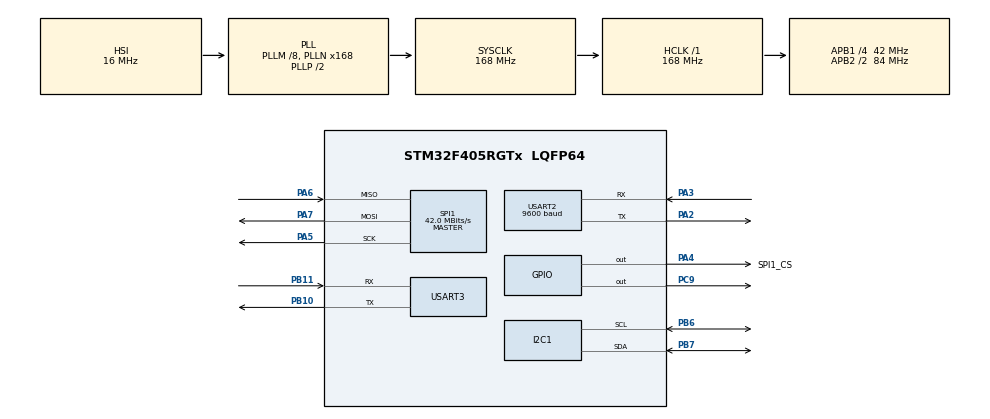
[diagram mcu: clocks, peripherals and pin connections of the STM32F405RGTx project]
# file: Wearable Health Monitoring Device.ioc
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I2C1.I2C_Mode=I2C_Standard
Mcu.Family=STM32F4
Mcu.Name=STM32F405RGTx
Mcu.Package=LQFP64
NVIC.PriorityGroup=NVIC_PRIORITYGROUP_4
NVIC.TIM1_UP_TIM10_IRQn=true\:15\:0\:false\:false\:true\:false\:true\:true
NVIC.TimeBase=TIM1_UP_TIM10_IRQn
NVIC.TimeBaseIP=TIM1
NVIC.USART3_IRQn=true\:0\:0\:false\:false\:true\:true\:true\:true
PA13.Mode=Trace_Asynchronous_SW
PA13.Signal=SYS_JTMS-SWDIO
PA14.Mode=Trace_Asynchronous_SW
PA14.Signal=SYS_JTCK-SWCLK
PA2.Mode=Asynchronous
PA2.Signal=USART2_TX
PA3.Mode=Asynchronous
PA3.Signal=USART2_RX
PA4.GPIO_Label=SPI1_CS
PA4.Signal=GPIO_Output
PA5.Mode=Full_Duplex_Master
PA5.Signal=SPI1_SCK
PA6.Mode=Full_Duplex_Master
PA6.Signal=SPI1_MISO
PA7.Mode=Full_Duplex_Master
PA7.Signal=SPI1_MOSI
PB10.Mode=Asynchronous
PB10.Signal=USART3_TX
PB11.Mode=Asynchronous
PB11.Signal=USART3_RX
PB3.Mode=Trace_Asynchronous_SW
PB3.Signal=SYS_JTDO-SWO
PB6.GPIO_Pu=GPIO_NOPULL
PB6.Mode=I2C
PB6.Signal=I2C1_SCL
PB7.GPIO_Pu=GPIO_NOPULL
PB7.Mode=I2C
PB7.Signal=I2C1_SDA
PC9.Signal=GPIO_Output
PH0-OSC_IN.Mode=HSE-External-Oscillator
PH0-OSC_IN.Signal=RCC_OSC_IN
PH1-OSC_OUT.Mode=HSE-External-Oscillator
PH1-OSC_OUT.Signal=RCC_OSC_OUT
ProjectManager.HeapSize=0x200
ProjectManager.StackSize=0x400
ProjectManager.TargetToolchain=STM32CubeIDE
RCC.48MHZClocksFreq_Value=48000000
RCC.AHBFreq_Value=168000000
RCC.APB1CLKDivider=RCC_HCLK_DIV4
RCC.APB1Freq_Value=42000000
RCC.APB1TimFreq_Value=84000000
RCC.APB2CLKDivider=RCC_HCLK_DIV2
RCC.APB2Freq_Value=84000000
RCC.APB2TimFreq_Value=168000000
RCC.CortexFreq_Value=168000000
RCC.EnbaleCSS=true
RCC.HCLKFreq_Value=168000000
RCC.HSE_VALUE=25000000
RCC.HSI_VALUE=16000000
RCC.LSE_VALUE=32768
RCC.PLLM=25
RCC.PLLN=336
RCC.PLLQ=7
RCC.PLLSourceVirtual=RCC_PLLSOURCE_HSE
RCC.SYSCLKFreq_VALUE=168000000
RCC.SYSCLKSource=RCC_SYSCLKSOURCE_PLLCLK
RCC.VCOOutputFreq_Value=336000000
SPI1.CalculateBaudRate=42.0 MBits/s
SPI1.Direction=SPI_DIRECTION_2LINES
SPI1.Mode=SPI_MODE_MASTER
SPI1.VirtualType=VM_MASTER
USART2.BaudRate=9600
USART2.VirtualMode=VM_ASYNC
USART3.VirtualMode=VM_ASYNC
VP_SYS_VS_tim1.Mode=TIM1
board=custom

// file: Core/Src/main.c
/* USER CODE BEGIN Header */
/**
  ******************************************************************************
  * @file           : main.c
  * @brief          : Main program body
  ******************************************************************************
  * @attention
  *
  * Copyright (c) 2025 STMicroelectronics.
  * All rights reserved.
  *
  * This software is licensed under terms that can be found in the LICENSE file
  * in the root directory of this software component.
  * If no LICENSE file comes with this software, it is provided AS-IS.
  *
  ******************************************************************************
  */
/* USER CODE END Header */
#include "main.h"
#include "i2c.h"
#include "spi.h"
#include "usart.h"
#include "gpio.h"

/* USER CODE BEGIN Includes */
#include "m95640_driver.h"
#include "max30102.h"
#include "FreeRTOS.h"
#include "task.h"
#include <stdio.h>
#include <string.h>
#include <stdbool.h>
#include <stdlib.h>
#include <time.h>
#include "hc05.h"
/* USER CODE END Includes */

/* USER CODE BEGIN PTD */
// State machine for our ThingSpeak client application
typedef enum {
    STATE_CLIENT_INIT,
    STATE_CLIENT_CONNECT_WIFI,
    STATE_CLIENT_START_CONNECTION,
    STATE_CLIENT_SEND_DATA,
    STATE_CLIENT_CLOSE_CONNECTION,
    STATE_CLIENT_WAIT,
    STATE_CLIENT_ERROR
} AppState;
/* USER CODE END PTD */

/* USER CODE BEGIN PD */
#define EEPROM_ADDRESS  0x0000

// --- WiFi Credentials ---
#define WIFI_SSID       "network7"
#define WIFI_PASSWORD   "1029384757"

// --- ThingSpeak Configuration ---
#define THINGSPEAK_API_KEY "VM24KC8S1EDVA8AV" // IMPORTANT: REPLACE WITH YOUR KEY
#define THINGSPEAK_HOST "api.thingspeak.com"
#define THINGSPEAK_PORT 80
#define UPDATE_INTERVAL_MS 20000 // ThingSpeak free plan allows updates every 15s. 20s is safer.

// --- ESP32 Communication Buffer ---
#define RX_BUFFER_SIZE 1024
/* USER CODE END PD */

/* USER CODE BEGIN PV */
bool isTrue = false;
char g_read_string[5];
uint16_t ir_data[16], red_data[16];

// --- ESP32 AT Command Client Variables ---
uint8_t uart_rx_buffer[1]; // Single byte buffer for UART IT
uint8_t app_rx_buffer[RX_BUFFER_SIZE];  // Application buffer for processing responses
volatile uint16_t app_rx_write_pos = 0;
volatile AppState app_state = STATE_CLIENT_INIT;

// MAX30100 Register addresses and functions (as provided by you)
#define MAX30100_I2C_ADDRESS (0x57 << 1)
#define REG_INT_STATUS      0x00
#define REG_INT_ENABLE      0x01
#define REG_FIFO_WR_PTR     0x02
#define REG_OVF_COUNTER     0x03
#define REG_FIFO_RD_PTR     0x04
#define REG_FIFO_DATA       0x05
#define REG_MODE_CONFIG     0x06
#define REG_SPO2_CONFIG     0x07
#define REG_LED_CONFIG      0x09

HAL_StatusTypeDef MAX30100_WriteReg(uint8_t reg, uint8_t value) {
    uint8_t data[2] = {reg, value};
    return HAL_I2C_Master_Transmit(&hi2c1, MAX30100_I2C_ADDRESS, data, 2, HAL_MAX_DELAY);
}

HAL_StatusTypeDef MAX30100_ReadReg(uint8_t reg, uint8_t *data, uint16_t len) {
    return HAL_I2C_Mem_Read(&hi2c1, MAX30100_I2C_ADDRESS, reg, 1, data, len, HAL_MAX_DELAY);
}

void MAX30100_Init(void) {
    MAX30100_WriteReg(REG_MODE_CONFIG, 0x40);
    HAL_Delay(100);
    MAX30100_WriteReg(REG_FIFO_WR_PTR, 0x00);
    MAX30100_WriteReg(REG_OVF_COUNTER, 0x00);
    MAX30100_WriteReg(REG_FIFO_RD_PTR, 0x00);
    MAX30100_WriteReg(REG_INT_ENABLE, 0x10);
    MAX30100_WriteReg(REG_MODE_CONFIG, 0x03);
    MAX30100_WriteReg(REG_SPO2_CONFIG, 0x41);
    MAX30100_WriteReg(REG_LED_CONFIG, 0x33);
}

void MAX30100_ReadFIFO(uint16_t *ir, uint16_t *red, uint8_t num_samples) {
    uint8_t fifo_data[4 * num_samples];
    uint8_t wr_ptr, rd_ptr;
    MAX30100_ReadReg(REG_FIFO_WR_PTR, &wr_ptr, 1);
    MAX30100_ReadReg(REG_FIFO_RD_PTR, &rd_ptr, 1);
    int8_t samples_to_read = wr_ptr - rd_ptr;
    if (samples_to_read < 0) samples_to_read += 32;
    if (samples_to_read > num_samples) samples_to_read = num_samples;
    if (samples_to_read > 0) {
        MAX30100_ReadReg(REG_FIFO_DATA, fifo_data, 4 * samples_to_read);
        for (uint8_t i = 0; i < samples_to_read; i++) {
            ir[i] = (fifo_data[i * 4] << 8) | fifo_data[i * 4 + 1];
            red[i] = (fifo_data[i * 4 + 2] << 8) | fifo_data[i * 4 + 3];
        }
    }
}

// --- ESP32 Helper Functions ---
void clear_app_buffer(void) {
    memset(app_rx_buffer, 0, RX_BUFFER_SIZE);
    app_rx_write_pos = 0;
}

void esp32_send_command(const char* cmd) {
    clear_app_buffer();
    HAL_UART_Transmit(&huart3, (uint8_t*)cmd, strlen(cmd), HAL_MAX_DELAY);
}

bool esp32_wait_for_response(const char* expected_response, uint32_t timeout_ms) {
    uint32_t start_time = HAL_GetTick();
    while ((HAL_GetTick() - start_time) < timeout_ms) {
        if (strstr((char*)app_rx_buffer, expected_response) != NULL) {
            return true;
        }
        vTaskDelay(pdMS_TO_TICKS(100));
    }
    return false;
}

int getRandom_0_to_50(void) {
    // rand() % 51 will generate a number between 0 and 50.
    return rand() % 51;
}

int getRandom_90_to_110(void) {
    // 1. Calculate the range size: 110 - 90 + 1 = 21
    // 2. Generate a random number from 0 to 20: rand() % 21
    // 3. Add the minimum value (90) to shift the range.
    return (rand() % 21) + 90;
}
/* USER CODE END PV */

void SystemClock_Config(void);
/* USER CODE BEGIN PFP */
void thingSpeakTask(void *param);
/* USER CODE END PFP */

int main(void)
{

  /* MCU Configuration--------------------------------------------------------*/

  /* Reset of all peripherals, Initializes the Flash interface and the Systick. */
  HAL_Init();

  /* Configure the system clock */
  SystemClock_Config();

  /* Initialize all configured peripherals */
  MX_GPIO_Init();
  MX_SPI1_Init();
  MX_I2C1_Init();
  MX_USART2_UART_Init();
  MX_USART3_UART_Init();
  /* USER CODE BEGIN 2 */
  SpiEepromInit_HAL();
  hc05_init(&huart2);
  srand(time(NULL));
//  MAX30100_Init();

  // Start listening for data from ESP32 using interrupts.
  HAL_UART_Receive_IT(&huart3, uart_rx_buffer, 1);

  // Create the FreeRTOS task for sending data to ThingSpeak.
  xTaskCreate(thingSpeakTask, "ThingSpeakTask", 2048, NULL, 1, NULL);

  // Start the FreeRTOS scheduler.
  vTaskStartScheduler();
  /* USER CODE END 2 */

  /* Infinite loop */
  while (1)
  {

  }
}

void SystemClock_Config(void)
{
  RCC_OscInitTypeDef RCC_OscInitStruct = {0};
  RCC_ClkInitTypeDef RCC_ClkInitStruct = {0};

  /** Configure the main internal regulator output voltage
  */
  __HAL_RCC_PWR_CLK_ENABLE();
  __HAL_PWR_VOLTAGESCALING_CONFIG(PWR_REGULATOR_VOLTAGE_SCALE1);

  /** Initializes the RCC Oscillators according to the specified parameters
  * in the RCC_OscInitTypeDef structure.
  */
  RCC_OscInitStruct.OscillatorType = RCC_OSCILLATORTYPE_HSI;
  RCC_OscInitStruct.HSIState = RCC_HSI_ON;
  RCC_OscInitStruct.HSICalibrationValue = RCC_HSICALIBRATION_DEFAULT;
  RCC_OscInitStruct.PLL.PLLState = RCC_PLL_ON;
  RCC_OscInitStruct.PLL.PLLSource = RCC_PLLSOURCE_HSI;
  RCC_OscInitStruct.PLL.PLLM = 8;
  RCC_OscInitStruct.PLL.PLLN = 168;
  RCC_OscInitStruct.PLL.PLLP = RCC_PLLP_DIV2;
  RCC_OscInitStruct.PLL.PLLQ = 4;
  if (HAL_RCC_OscConfig(&RCC_OscInitStruct) != HAL_OK)
  {
    Error_Handler();
  }

  /** Initializes the CPU, AHB and APB buses clocks
  */
  RCC_ClkInitStruct.ClockType = RCC_CLOCKTYPE_HCLK|RCC_CLOCKTYPE_SYSCLK
                              |RCC_CLOCKTYPE_PCLK1|RCC_CLOCKTYPE_PCLK2;
  RCC_ClkInitStruct.SYSCLKSource = RCC_SYSCLKSOURCE_PLLCLK;
  RCC_ClkInitStruct.AHBCLKDivider = RCC_SYSCLK_DIV1;
  RCC_ClkInitStruct.APB1CLKDivider = RCC_HCLK_DIV4;
  RCC_ClkInitStruct.APB2CLKDivider = RCC_HCLK_DIV2;

  if (HAL_RCC_ClockConfig(&RCC_ClkInitStruct, FLASH_LATENCY_5) != HAL_OK)
  {
    Error_Handler();
  }
}

/* USER CODE BEGIN 4 */
// This is the main task for sending data to ThingSpeak
void thingSpeakTask(void *param)
{
    char command_buffer[128];
    char http_request[256];
    char data_payload[128];

    // Initial state setup
    app_state = STATE_CLIENT_INIT;

    while(1)
    {
        switch(app_state)
        {
            case STATE_CLIENT_INIT:
                esp32_send_command("AT+RST\r\n");
                vTaskDelay(pdMS_TO_TICKS(2000));
                esp32_send_command("ATE0\r\n");
                if(esp32_wait_for_response("OK", 2000)) {
                    app_state = STATE_CLIENT_CONNECT_WIFI;
                } else {
                    app_state = STATE_CLIENT_ERROR;
                }
                break;

            case STATE_CLIENT_CONNECT_WIFI:
                esp32_send_command("AT+CWMODE=1\r\n");
                if(!esp32_wait_for_response("OK", 2000)) { app_state = STATE_CLIENT_ERROR; break; }

                sprintf(command_buffer, "AT+CWJAP=\"%s\",\"%s\"\r\n", WIFI_SSID, WIFI_PASSWORD);
                esp32_send_command(command_buffer);
                if(esp32_wait_for_response("WIFI GOT IP", 15000)) {
                    app_state = STATE_CLIENT_WAIT; // Successfully connected, go to wait state
                } else {
                    app_state = STATE_CLIENT_ERROR;
                }
                break;

            case STATE_CLIENT_START_CONNECTION:
                sprintf(command_buffer, "AT+CIPSTART=\"TCP\",\"%s\",%d\r\n", THINGSPEAK_HOST, THINGSPEAK_PORT);
                esp32_send_command(command_buffer);
                if(esp32_wait_for_response("CONNECT", 5000)) {
                    app_state = STATE_CLIENT_SEND_DATA;
                } else {
                    app_state = STATE_CLIENT_ERROR; // Failed to connect to server
                }
                break;

            case STATE_CLIENT_SEND_DATA:
            {
                // Step 1: Get sensor data (using constant values for now)
                // MAX30100_ReadFIFO(ir_data, red_data, 1);
                uint16_t ir_value = getRandom_0_to_50();
                uint16_t red_value = getRandom_90_to_110();

                // Step 2: Format the data payload for the request body
                sprintf(data_payload, "api_key=%s&field1=%u&field2=%u", THINGSPEAK_API_KEY, ir_value, red_value);

                // Step 3: Format the full HTTP POST request
                sprintf(http_request,
                        "POST /update HTTP/1.1\r\n"
                        "Host: %s\r\n"
                        "Content-Type: application/x-www-form-urlencoded\r\n"
                        "Content-Length: %d\r\n"
                        "\r\n"
                        "%s",
                        THINGSPEAK_HOST, strlen(data_payload), data_payload);

                // Step 4: Send the request length to ESP32
                sprintf(command_buffer, "AT+CIPSEND=%d\r\n", strlen(http_request));
                esp32_send_command(command_buffer);

                // Step 5: Wait for ">" and send the actual request
                if(esp32_wait_for_response(">", 2000)) {
                    esp32_send_command(http_request);
                    if(esp32_wait_for_response("SEND OK", 5000)) {
                        app_state = STATE_CLIENT_CLOSE_CONNECTION;
                    } else { app_state = STATE_CLIENT_ERROR; }
                } else { app_state = STATE_CLIENT_ERROR; }
            }
            break;

            case STATE_CLIENT_CLOSE_CONNECTION:
                esp32_send_command("AT+CIPCLOSE\r\n");
                // We don't strictly need to wait for the response. Move to wait state.
                app_state = STATE_CLIENT_WAIT;
                break;

            case STATE_CLIENT_WAIT:
                // Wait for the defined interval before sending the next update
                vTaskDelay(pdMS_TO_TICKS(UPDATE_INTERVAL_MS));
                app_state = STATE_CLIENT_START_CONNECTION; // Time to send data again
                break;

            case STATE_CLIENT_ERROR:
                // An error occurred. Toggle an LED and try to re-initialize after a delay.
//                HAL_GPIO_TogglePin(LD2_GPIO_Port, LD2_Pin);
                vTaskDelay(pdMS_TO_TICKS(500));
//                HAL_GPIO_TogglePin(LD2_GPIO_Port, LD2_Pin);
                vTaskDelay(pdMS_TO_TICKS(5000));
                app_state = STATE_CLIENT_INIT; // Try to recover
                break;
        }
        vTaskDelay(pdMS_TO_TICKS(10));
    }
}

// UART Interrupt Service Routine Callback
void HAL_UART_RxCpltCallback(UART_HandleTypeDef *huart)
{
    if (huart->Instance == USART3)
    {
        if (app_rx_write_pos < sizeof(app_rx_buffer) - 1)
        {
            app_rx_buffer[app_rx_write_pos++] = uart_rx_buffer[0];
        }
        else
        {
            // Buffer overflow, clear it and start over
            clear_app_buffer();
            app_rx_buffer[app_rx_write_pos++] = uart_rx_buffer[0];
        }
        // Re-arm the UART interrupt to receive the next byte
        HAL_UART_Receive_IT(&huart3, uart_rx_buffer, 1);
    }
}
/* USER CODE END 4 */

void HAL_TIM_PeriodElapsedCallback(TIM_HandleTypeDef *htim)
{
  if (htim->Instance == TIM1) {
    HAL_IncTick();
  }
}

void Error_Handler(void)
{
  __disable_irq();
  while (1)
  {
  }
}
